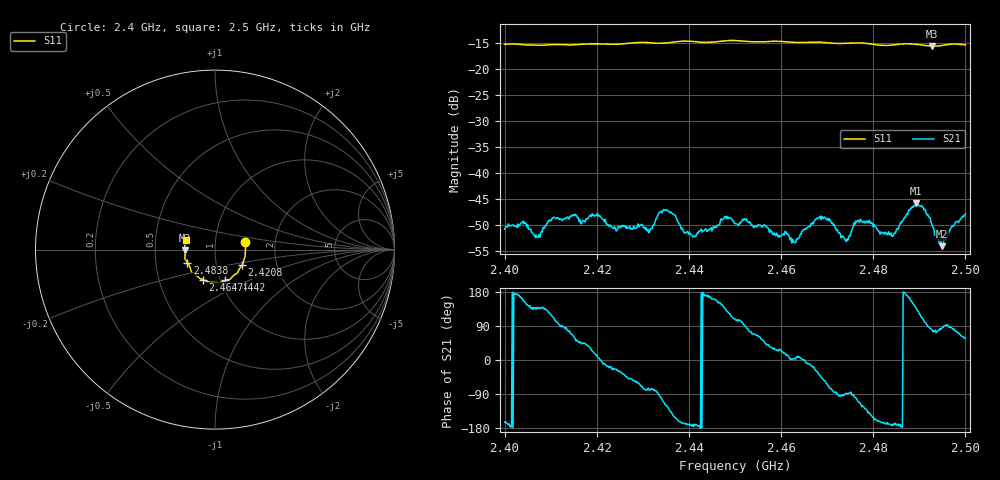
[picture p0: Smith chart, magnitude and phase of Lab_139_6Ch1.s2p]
# Hz S RI R 50
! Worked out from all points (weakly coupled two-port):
!   601 points, 2.4 GHz to 2.5 GHz, reference 50 ohm
!   highest |S21| = -45.78 dB at 2.4893 GHz (marker M1); lowest = -54.0 dB at 2.495 GHz (marker M2)
!   lowest |S11| = -15.6 dB at 2.4928 GHz (marker M3), VSWR 1.40, Z = 35.8 - j0.353 ohm
!   |S11| at or under -10 dB: start of sweep to end of sweep
!   S12 and S22 are empty: the file has one direction only
!   S11 on the Smith chart (normalised r, x): 2.4 GHz: 1.40, +0.12; 2.4208 GHz: 1.33, -0.24; 2.4442 GHz: 1.05, -0.37; 2.4647 GHz: 0.83, -0.29; 2.4838 GHz: 0.73, -0.11; 2.5 GHz: 0.72, +0.08
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2.4e9  0.1679 0.041  -0.0028 -0.000788  0 0  0 0
2.407167e9  0.1692 -0.0108  -0.00175 0.00166  0 0  0 0
2.410833e9  0.169 -0.0325  -0.00107 0.00362  0 0  0 0
2.416667e9  0.1589 -0.0681  0.00241 0.00221  0 0  0 0
2.420833e9  0.1505 -0.0871  0.00382 1.69e-05  0 0  0 0
2.431333e9  0.1192 -0.1339  0.000509 -0.00263  0 0  0 0
2.433333e9  0.1078 -0.1401  9.46e-05 -0.00398  0 0  0 0
2.441e9  0.0777 -0.1667  -0.00248 -0.00019  0 0  0 0
2.444167e9  0.0568 -0.1713  -0.00282 0.000461  0 0  0 0
2.45e9  0.0246 -0.1864  -0.00101 0.00314  0 0  0 0
2.462833e9  -0.0531 -0.1727  0.00216 0.000158  0 0  0 0
2.464667e9  -0.0672 -0.1671  0.00279 9.07e-05  0 0  0 0
2.466667e9  -0.0802 -0.1627  0.00312 -0.000913  0 0  0 0
2.47e9  -0.0929 -0.1535  0.00158 -0.00321  0 0  0 0
2.474167e9  -0.1164 -0.1329  8.74e-05 -0.00221  0 0  0 0
2.476833e9  -0.1312 -0.1207  -0.00125 -0.00325  0 0  0 0
2.483333e9  -0.1504 -0.0761  -0.0027 -0.00053  0 0  0 0
2.483833e9  -0.1533 -0.072  -0.00264 -0.000411  0 0  0 0
2.489333e9  -0.168 -0.0409  -0.0037 0.00357  0 0  0 0
2.492833e9  -0.1657 -0.00479  0.000633 0.00303  0 0  0 0
2.495e9  -0.1676 0.0174  0.00014 0.00199  0 0  0 0
2.5e9  -0.1626 0.0526  0.00222 0.00343  0 0  0 0
